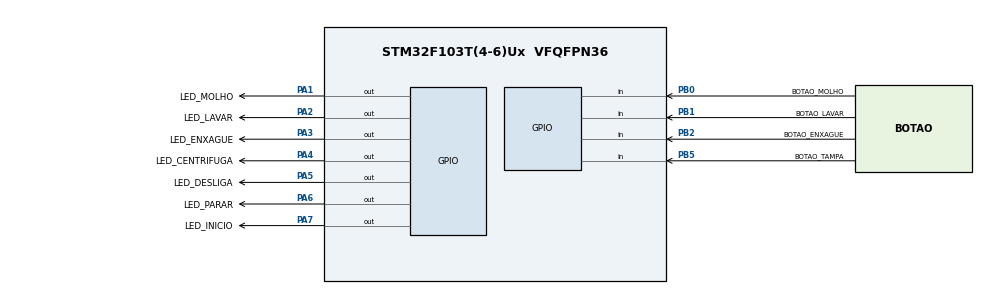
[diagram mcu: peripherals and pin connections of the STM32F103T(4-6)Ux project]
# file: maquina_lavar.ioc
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Mcu.Family=STM32F1
Mcu.Name=STM32F103T(4-6)Ux
Mcu.Package=VFQFPN36
NVIC.PriorityGroup=NVIC_PRIORITYGROUP_4
PA1.GPIO_Label=LED_MOLHO
PA1.Signal=GPIO_Output
PA2.GPIO_Label=LED_LAVAR
PA2.Signal=GPIO_Output
PA3.GPIO_Label=LED_ENXAGUE
PA3.Signal=GPIO_Output
PA4.GPIO_Label=LED_CENTRIFUGA
PA4.Signal=GPIO_Output
PA5.GPIO_Label=LED_DESLIGA
PA5.Signal=GPIO_Output
PA6.GPIO_Label=LED_PARAR
PA6.Signal=GPIO_Output
PA7.GPIO_Label=LED_INICIO
PA7.Signal=GPIO_Output
PB0.GPIO_Label=BOTAO_MOLHO
PB0.GPIO_PuPd=GPIO_PULLUP
PB0.Signal=GPIO_Input
PB1.GPIO_Label=BOTAO_LAVAR
PB1.GPIO_PuPd=GPIO_PULLUP
PB1.Signal=GPIO_Input
PB2.GPIO_Label=BOTAO_ENXAGUE
PB2.GPIO_PuPd=GPIO_PULLUP
PB2.Signal=GPIO_Input
PB5.GPIO_Label=BOTAO_TAMPA
PB5.GPIO_Mode=GPIO_MODE_INPUT
PB5.GPIO_PuPd=GPIO_PULLUP
PB5.Signal=GPIO_Input
ProjectManager.HeapSize=0x200
ProjectManager.StackSize=0x400
ProjectManager.TargetToolchain=STM32CubeIDE
RCC.APB1Freq_Value=8000000
RCC.APB2Freq_Value=8000000
board=custom

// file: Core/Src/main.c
/* USER CODE BEGIN Header */
/**
 ******************************************************************************
 * @file           : main.c
 * @brief          : Main program body
 ******************************************************************************
 * @attention
 *
 * Copyright (c) 2025 STMicroelectronics.
 * All rights reserved.
 *
 * This software is licensed under terms that can be found in the LICENSE file
 * in the root directory of this software component.
 * If no LICENSE file comes with this software, it is provided AS-IS.
 *
 ******************************************************************************
 */
/* USER CODE END Header */
#include "main.h"

/* USER CODE BEGIN PTD */

// Enumeração de estados: Aqui foi definido um tipo chamado Estados que representa os possíveis estados da máquina de estados.
typedef enum { ST_INICIO, ST_MOLHO, ST_LAVAR, ST_ENXAGUE, ST_CENTRIFUGA, ST_DESLIGA } Estados;
/* USER CODE END PTD */

/* USER CODE BEGIN PD */

//#define GPIO_PIN_RESET 0
//#define GPIO_PIN_SET  1

/* USER CODE END PD */

/* USER CODE BEGIN PV */
Estados estado_atual = ST_INICIO;

/* USER CODE END PV */

void SystemClock_Config(void);
static void MX_GPIO_Init(void);
/* USER CODE BEGIN PFP */

void estado_inicio();
void estado_molho();
void estado_lavar();
void estado_enxague();
void estado_centrifuga();
void estado_desliga();
void (*tabela_estados[])();

/* USER CODE END PFP */

/* USER CODE BEGIN 0 */
/*
 *  A função estado_inicio, vai definir o funcionamento do sistema. É nele que será definido a partir de botões, qual
 *  será a operação de lavagem que o sistema entrará.
 *
 *
 */

void tampa_aberta(){
	//HAL_Delay(50);
	HAL_GPIO_WritePin(GPIOA,LED_PARAR_Pin, GPIO_PIN_SET);
	HAL_Delay(100);
}

void tampa_fechada(){
	//HAL_Delay(50);
	HAL_GPIO_WritePin(GPIOA,LED_PARAR_Pin, GPIO_PIN_RESET);
	HAL_Delay(100);
}

void estado_inicio(){

	HAL_Delay(500);
	HAL_GPIO_WritePin(GPIOA,LED_INICIO_Pin, GPIO_PIN_SET);	// Liga o LED indicando ponto inicial (esperando escolher modo)

	// Caso tampa aberta.
	if((HAL_GPIO_ReadPin(GPIOB, BOTAO_TAMPA_Pin))){	// Sempre retorna 1, quando for fechada tampa (botão acionado) if(0)
		HAL_Delay(1000);
		tampa_aberta();
	}
	else{
		tampa_fechada();
		HAL_Delay(1000);

		// Seleção dos modos
		if(!(HAL_GPIO_ReadPin(GPIOB, BOTAO_MOLHO_Pin))){
			HAL_GPIO_WritePin(GPIOA,LED_INICIO_Pin, GPIO_PIN_RESET);
			estado_atual = ST_MOLHO;
		}
		if(!(HAL_GPIO_ReadPin(GPIOB, BOTAO_LAVAR_Pin))){
			HAL_GPIO_WritePin(GPIOA,LED_INICIO_Pin, GPIO_PIN_RESET);
			estado_atual = ST_LAVAR;
		}
		if(!(HAL_GPIO_ReadPin(GPIOB, BOTAO_ENXAGUE_Pin))){
			HAL_GPIO_WritePin(GPIOA,LED_INICIO_Pin, GPIO_PIN_RESET);
			estado_atual = ST_ENXAGUE;
		}
	}
}

void estado_molho(){

	HAL_GPIO_WritePin(GPIOA, LED_MOLHO_Pin, GPIO_PIN_SET); // liga o led indicando estado molho iniciando.
	HAL_Delay(1000);
	// Caso tampa fechada
	if(!(HAL_GPIO_ReadPin(GPIOB, BOTAO_TAMPA_Pin))){
		tampa_fechada();

		HAL_Delay(1000);
		HAL_GPIO_WritePin(GPIOA, LED_MOLHO_Pin, GPIO_PIN_RESET);
		estado_atual = ST_LAVAR;
	}

	// Caso tampa aberta.
	if((HAL_GPIO_ReadPin(GPIOB, BOTAO_TAMPA_Pin))){
		tampa_aberta();
	}

}

void estado_lavar(){
	HAL_GPIO_WritePin(GPIOA,LED_LAVAR_Pin, GPIO_PIN_SET);
	HAL_Delay(1000);
	HAL_GPIO_WritePin(GPIOA,LED_LAVAR_Pin, GPIO_PIN_RESET);
	estado_atual = ST_ENXAGUE;
}

void estado_enxague(){
	HAL_GPIO_WritePin(GPIOA, LED_ENXAGUE_Pin, GPIO_PIN_SET);

	if(!(HAL_GPIO_ReadPin(GPIOB, BOTAO_TAMPA_Pin))){
		HAL_GPIO_WritePin(GPIOA,LED_PARAR_Pin, GPIO_PIN_RESET);

		HAL_Delay(1000);
		HAL_GPIO_WritePin(GPIOA,LED_ENXAGUE_Pin, GPIO_PIN_RESET);
		estado_atual = ST_CENTRIFUGA;
	}

	// Caso tampa aberta.
	if((HAL_GPIO_ReadPin(GPIOB, BOTAO_TAMPA_Pin))){
		tampa_aberta();
	}

}

void estado_centrifuga(){
	HAL_GPIO_WritePin(GPIOA, LED_CENTRIFUGA_Pin, GPIO_PIN_SET);

	HAL_Delay(1000);
	HAL_GPIO_WritePin(GPIOA, LED_CENTRIFUGA_Pin, GPIO_PIN_RESET);
	estado_atual = ST_DESLIGA;
}

void estado_desliga(){
	HAL_GPIO_WritePin(GPIOA, LED_DESLIGA_Pin, GPIO_PIN_SET);
	HAL_Delay(1000);
	HAL_GPIO_WritePin(GPIOA, LED_DESLIGA_Pin, GPIO_PIN_RESET);
	estado_atual = ST_INICIO;
}

// Vetor ponteiro para funções.
void (*tabela_estados[])() = { estado_inicio, estado_molho, estado_lavar, estado_enxague, estado_centrifuga, estado_desliga };

/* USER CODE END 0 */

int main(void)
{

	/* MCU Configuration--------------------------------------------------------*/

	/* Reset of all peripherals, Initializes the Flash interface and the Systick. */
	HAL_Init();

	/* Configure the system clock */
	SystemClock_Config();

	/* Initialize all configured peripherals */
	MX_GPIO_Init();

	/* Infinite loop */
	/* USER CODE BEGIN WHILE */
	while (1)
	{
		tabela_estados[estado_atual]();

		/* USER CODE END WHILE */

	}
}

void SystemClock_Config(void)
{
	RCC_OscInitTypeDef RCC_OscInitStruct = {0};
	RCC_ClkInitTypeDef RCC_ClkInitStruct = {0};

	/** Initializes the RCC Oscillators according to the specified parameters
	 * in the RCC_OscInitTypeDef structure.
	 */
	RCC_OscInitStruct.OscillatorType = RCC_OSCILLATORTYPE_HSI;
	RCC_OscInitStruct.HSIState = RCC_HSI_ON;
	RCC_OscInitStruct.HSICalibrationValue = RCC_HSICALIBRATION_DEFAULT;
	RCC_OscInitStruct.PLL.PLLState = RCC_PLL_NONE;
	if (HAL_RCC_OscConfig(&RCC_OscInitStruct) != HAL_OK)
	{
		Error_Handler();
	}

	/** Initializes the CPU, AHB and APB buses clocks
	 */
	RCC_ClkInitStruct.ClockType = RCC_CLOCKTYPE_HCLK|RCC_CLOCKTYPE_SYSCLK
			|RCC_CLOCKTYPE_PCLK1|RCC_CLOCKTYPE_PCLK2;
	RCC_ClkInitStruct.SYSCLKSource = RCC_SYSCLKSOURCE_HSI;
	RCC_ClkInitStruct.AHBCLKDivider = RCC_SYSCLK_DIV1;
	RCC_ClkInitStruct.APB1CLKDivider = RCC_HCLK_DIV1;
	RCC_ClkInitStruct.APB2CLKDivider = RCC_HCLK_DIV1;

	if (HAL_RCC_ClockConfig(&RCC_ClkInitStruct, FLASH_LATENCY_0) != HAL_OK)
	{
		Error_Handler();
	}
}

static void MX_GPIO_Init(void)
{
	GPIO_InitTypeDef GPIO_InitStruct = {0};

	/* GPIO Ports Clock Enable */
	__HAL_RCC_GPIOA_CLK_ENABLE();
	__HAL_RCC_GPIOB_CLK_ENABLE();

	/*Configure GPIO pin Output Level */
	HAL_GPIO_WritePin(GPIOA, LED_MOLHO_Pin|LED_LAVAR_Pin|LED_ENXAGUE_Pin|LED_CENTRIFUGA_Pin
			|LED_DESLIGA_Pin|LED_PARAR_Pin|LED_INICIO_Pin, GPIO_PIN_RESET);

	/*Configure GPIO pins : LED_MOLHO_Pin LED_LAVAR_Pin LED_ENXAGUE_Pin LED_CENTRIFUGA_Pin
                           LED_DESLIGA_Pin LED_PARAR_Pin LED_INICIO_Pin */
	GPIO_InitStruct.Pin = LED_MOLHO_Pin|LED_LAVAR_Pin|LED_ENXAGUE_Pin|LED_CENTRIFUGA_Pin
			|LED_DESLIGA_Pin|LED_PARAR_Pin|LED_INICIO_Pin;
	GPIO_InitStruct.Mode = GPIO_MODE_OUTPUT_PP;
	GPIO_InitStruct.Pull = GPIO_NOPULL;
	GPIO_InitStruct.Speed = GPIO_SPEED_FREQ_LOW;
	HAL_GPIO_Init(GPIOA, &GPIO_InitStruct);

	/*Configure GPIO pins : BOTAO_MOLHO_Pin BOTAO_LAVAR_Pin BOTAO_ENXAGUE_Pin BOTAO_TAMPA_Pin */
	GPIO_InitStruct.Pin = BOTAO_MOLHO_Pin|BOTAO_LAVAR_Pin|BOTAO_ENXAGUE_Pin|BOTAO_TAMPA_Pin;
	GPIO_InitStruct.Mode = GPIO_MODE_INPUT;
	GPIO_InitStruct.Pull = GPIO_PULLUP;
	HAL_GPIO_Init(GPIOB, &GPIO_InitStruct);

}

void Error_Handler(void)
{
	__disable_irq();
	while (1)
	{
	}
}
